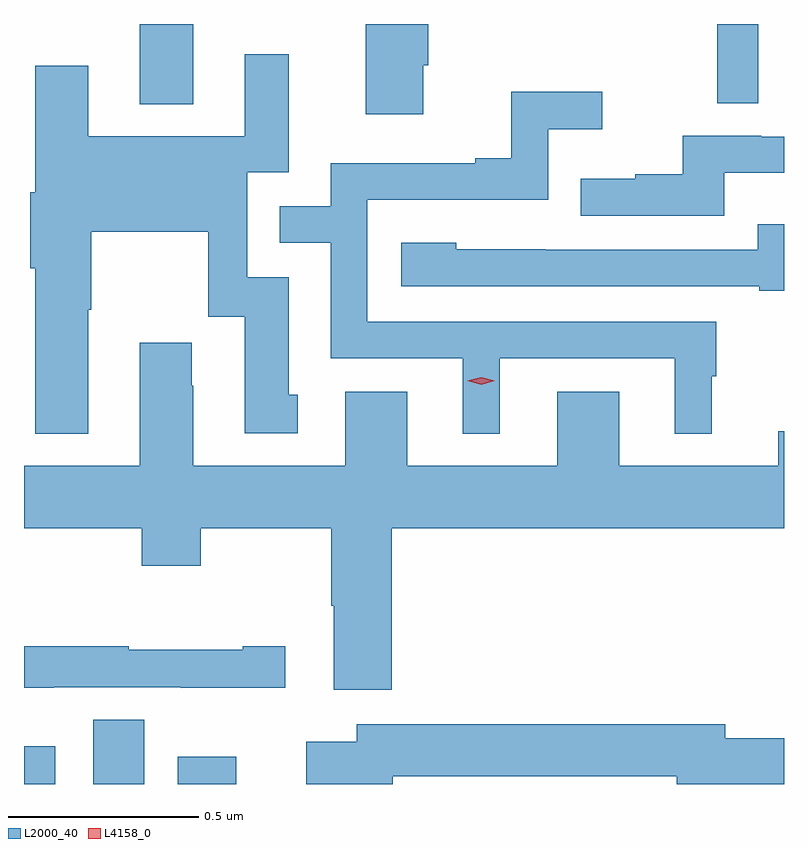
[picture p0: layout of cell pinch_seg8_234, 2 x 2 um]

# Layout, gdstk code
import gdstk
lib = gdstk.Library(unit=1e-6, precision=1e-09)
def R(c, l, rs):  # rectangles x0, y0, x1, y1
    for r in rs: c.add(gdstk.rectangle(r[:2], r[2:], *l))
def P(c, l, *ps):  # polygons
    for p in ps: c.add(gdstk.Polygon(p, *l))
L2000_40 = (2000, 40)
L4158_0 = (4158, 0)

pinch_seg8_234 = lib.new_cell('pinch_seg8_234')
R(pinch_seg8_234, L2000_40, [(627.162,1115.827,627.244,1115.926), (627.344,1115.827,627.478,1115.996), (627.566,1115.827,627.721,1115.899), (627.467,1117.616,627.607,1117.827), (628.986,1117.618,629.094,1117.827)])
P(pinch_seg8_234, L2000_40, [(628.213,1117.719),(628.226,1117.719),(628.226,1117.827),(628.061,1117.827),(628.061,1117.59),(628.213,1117.59)],
  [(627.331,1117.075),(627.339,1117.075),(627.339,1117.28),(627.647,1117.28),(627.647,1117.056),(627.743,1117.056),(627.743,1116.75),(627.883,1116.75),(627.883,1116.852),(627.859,1116.852),(627.859,1117.161),(627.75,1117.161),(627.75,1117.437),(627.859,1117.437),(627.859,1117.747),(627.743,1117.747),(627.743,1117.531),(627.331,1117.531),(627.331,1117.717),(627.191,1117.717),(627.191,1117.384),(627.179,1117.384),(627.179,1117.184),(627.191,1117.184),(627.191,1116.749),(627.331,1116.749)],
  [(628.414,1116.948),(628.874,1116.948),(628.874,1116.749),(628.972,1116.749),(628.972,1116.9),(628.984,1116.9),(628.984,1117.044),(628.065,1117.044),(628.065,1117.365),(628.542,1117.365),(628.542,1117.55),(628.684,1117.55),(628.684,1117.649),(628.444,1117.649),(628.444,1117.474),(628.349,1117.474),(628.349,1117.461),(627.969,1117.461),(627.969,1117.347),(627.835,1117.347),(627.835,1117.251),(627.969,1117.251),(627.969,1116.948),(628.316,1116.948),(628.316,1116.749),(628.414,1116.749)],
  [(629.005,1117.436),(629.162,1117.436),(629.162,1117.53),(629.102,1117.53),(629.102,1117.533),(628.895,1117.533),(628.895,1117.432),(628.771,1117.432),(628.771,1117.42),(628.627,1117.42),(628.627,1117.323),(629.005,1117.323)],
  [(629.162,1117.3),(629.093,1117.3),(629.093,1117.233),(628.535,1117.233),(628.535,1117.234),(628.299,1117.234),(628.299,1117.252),(628.155,1117.252),(628.155,1117.137),(629.097,1117.137),(629.097,1117.125),(629.162,1117.125)],
  [(628.13,1116.5),(629.162,1116.5),(629.162,1116.755),(629.147,1116.755),(629.147,1116.664),(628.729,1116.664),(628.729,1116.859),(628.565,1116.859),(628.565,1116.664),(628.171,1116.664),(628.171,1116.859),(628.007,1116.859),(628.007,1116.664),(627.607,1116.664),(627.607,1116.875),(627.604,1116.875),(627.604,1116.988),(627.467,1116.988),(627.467,1116.664),(627.162,1116.664),(627.162,1116.5),(627.472,1116.5),(627.472,1116.401),(627.627,1116.401),(627.627,1116.5),(627.97,1116.5),(627.97,1116.296),(627.977,1116.296),(627.977,1116.075),(628.13,1116.075)],
  [(627.24,1116.081),(627.574,1116.081),(627.574,1116.08),(627.85,1116.08),(627.85,1116.19),(627.737,1116.19),(627.737,1116.18),(627.437,1116.18),(627.437,1116.19),(627.162,1116.19),(627.162,1116.08),(627.24,1116.08)],
  [(628.132,1115.848),(628.88,1115.848),(628.88,1115.827),(629.162,1115.827),(629.162,1115.948),(629.008,1115.948),(629.008,1115.984),(628.038,1115.984),(628.038,1115.938),(627.905,1115.938),(627.905,1115.827),(628.132,1115.827)])
P(pinch_seg8_234, L4158_0, [(628.365,1116.878),(628.329,1116.888),(628.329,1116.888),(628.329,1116.888),(628.365,1116.898),(628.401,1116.888),(628.401,1116.888),(628.401,1116.888)])

lib.write_gds('pinch_seg8_234.gds')
